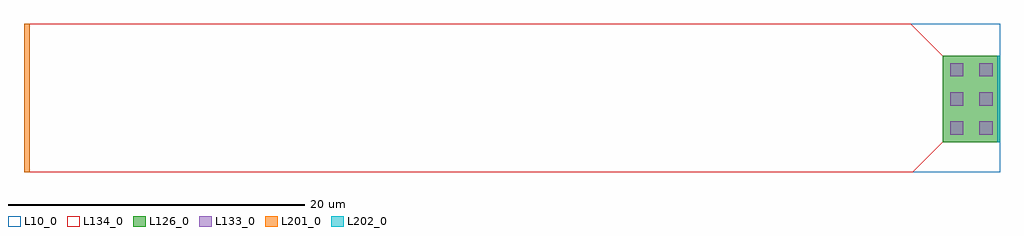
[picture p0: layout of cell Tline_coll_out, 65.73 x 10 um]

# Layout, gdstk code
import gdstk
lib = gdstk.Library(unit=1e-6, precision=1e-09)
def R(c, l, rs):  # rectangles x0, y0, x1, y1
    for r in rs: c.add(gdstk.rectangle(r[:2], r[2:], *l))
def A(c, l, x, y, w, h, nx, ny, dx, dy):  # array of equal rectangles
    R(c, l, [(x+i*dx, y+j*dy, x+i*dx+w, y+j*dy+h) for i in range(nx) for j in range(ny)])
def P(c, l, *ps):  # polygons
    for p in ps: c.add(gdstk.Polygon(p, *l))
L10_0 = (10, 0)
L126_0 = (126, 0)
L133_0 = (133, 0)
L134_0 = (134, 0)
L201_0 = (201, 0)
L202_0 = (202, 0)

via_stack = lib.new_cell('via_stack')
R(via_stack, L126_0, [(-1.93,-2.91,1.93,2.91)])
A(via_stack, L133_0, -1.43, -2.41, 0.9, 0.9, 1, 3, 0, 1.96)
A(via_stack, L133_0, 0.53, -2.41, 0.9, 0.9, 1, 3, 0, 1.96)
R(via_stack, L134_0, [(-1.93,-2.91,1.93,2.91)])

tline_coll_out = lib.new_cell('Tline_coll_out')
R(tline_coll_out, L10_0, [(123.565,3,189.295,13)])
P(tline_coll_out, L134_0, [(123.565,3),(123.565,13),(183.285,13),(185.435,10.85),(185.435,5.03),(183.405,3)])
R(tline_coll_out, L201_0, [(123.565,3,123.945,13)])
R(tline_coll_out, L202_0, [(189.1,5.03,189.295,10.85)])
tline_coll_out.add(gdstk.Reference(via_stack, (187.365,7.94)))

lib.write_gds('Tline_coll_out.gds')
